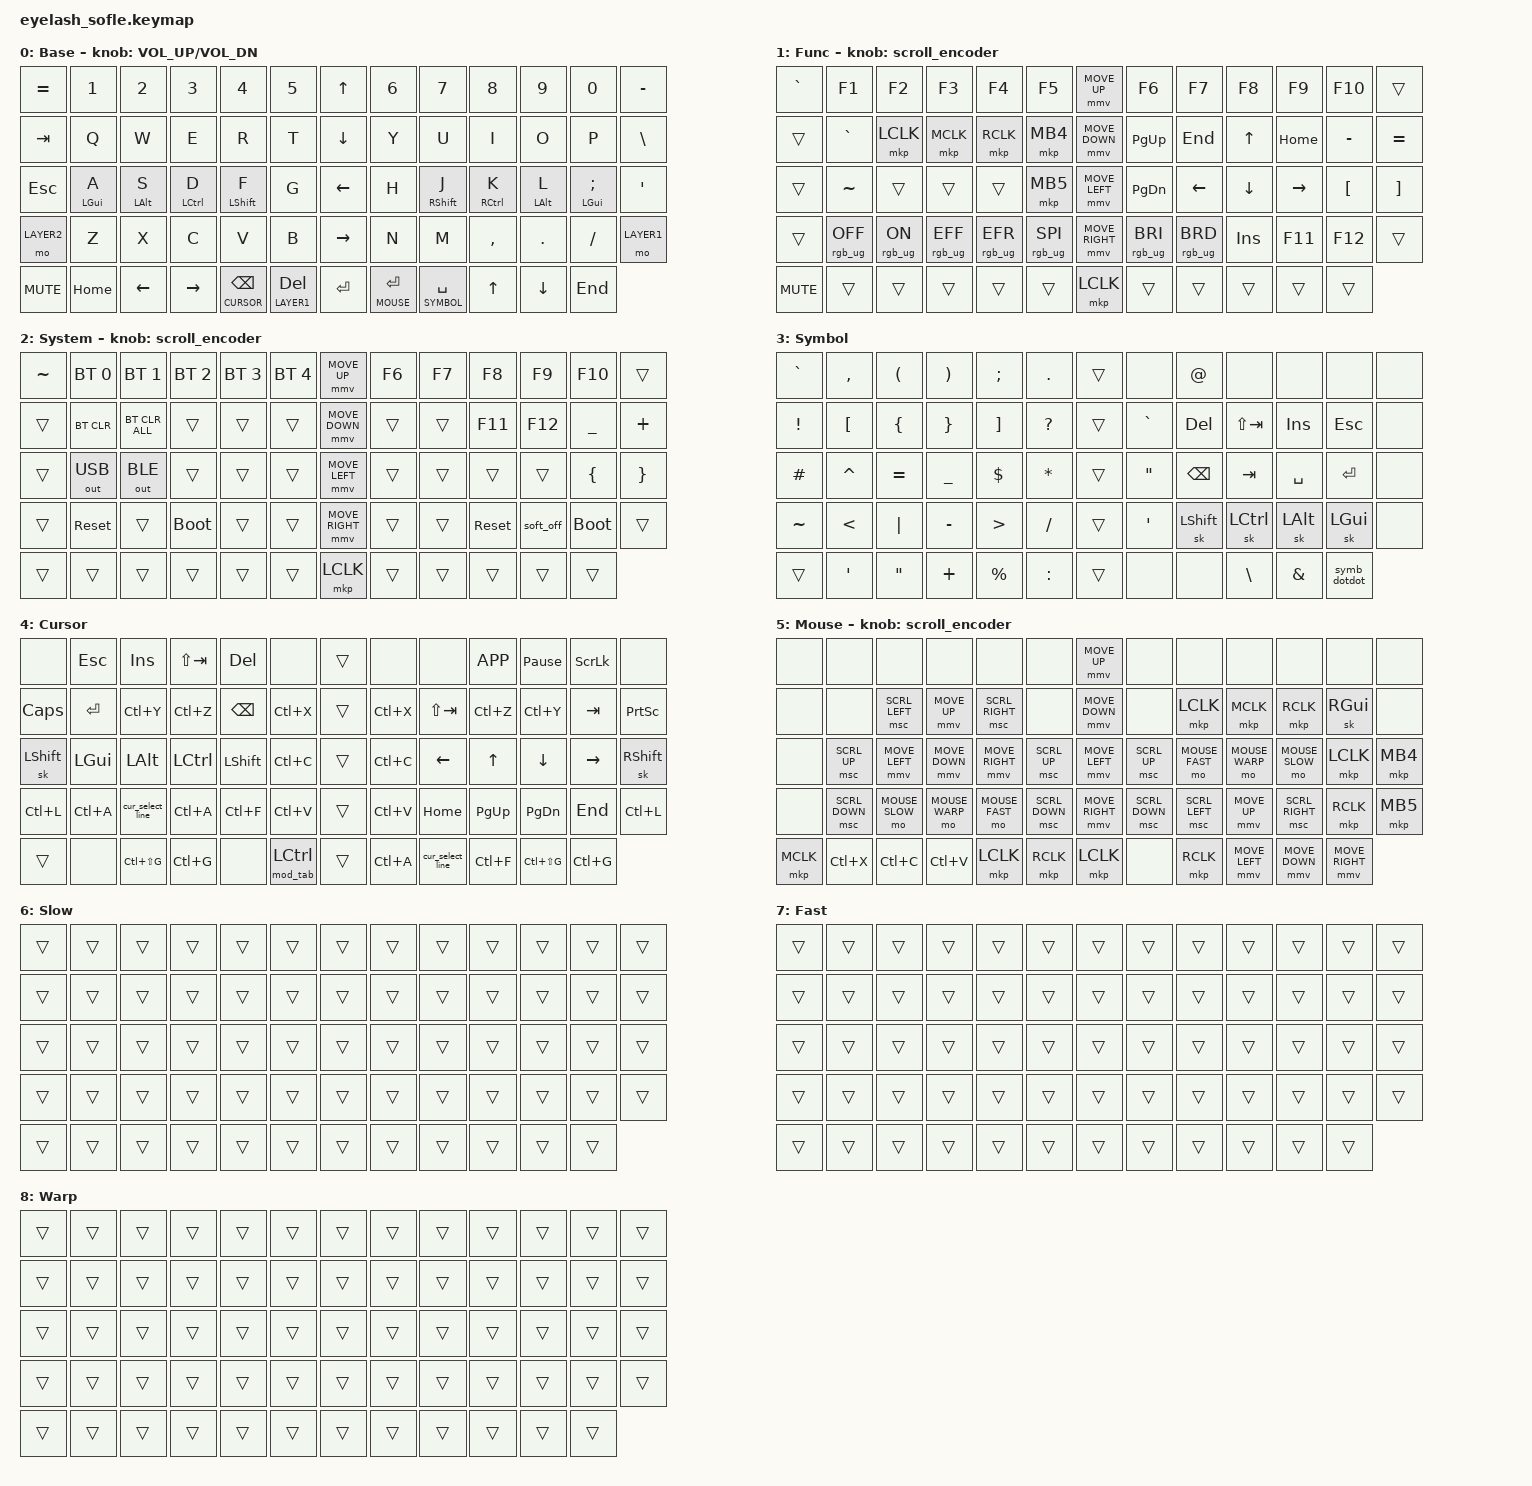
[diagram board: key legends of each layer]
#define ZMK_POINTING_DEFAULT_MOVE_VAL 1200  // 600
#define ZMK_POINTING_DEFAULT_SCRL_VAL 25   // 10

#include <input/processors.dtsi>
#include <zephyr/dt-bindings/input/input-event-codes.h>
#include <behaviors.dtsi>
#include <dt-bindings/zmk/bt.h>
#include <dt-bindings/zmk/ext_power.h>
#include <dt-bindings/zmk/keys.h>
#include <dt-bindings/zmk/pointing.h>
#include <dt-bindings/zmk/rgb.h>
#include <dt-bindings/zmk/outputs.h>

&msc {
    acceleration-exponent = <1>;      // 0
    time-to-max-speed-ms = <100>;       // 300
    delay-ms = <0>;                   // 0
};

&mmv {
    time-to-max-speed-ms = <500>;
    acceleration-exponent = <1>;
    trigger-period-ms = <16>;
};

// This keymap follows TailorKey v4.2m for the MoErgo Go60 (Windows/Linux).
// The Go60's main keys match the Sofle's one-to-one. Its three-key bottom row
// per side sits on the Sofle's three straight thumb-row keys, and its first
// two thumb keys on the angled ones (the Go60's third thumb keys are dropped).

// Key positions for the home row mods' "other hand" rule, as in TailorKey:
// each hand's main keys plus its bottom row. The angled thumb keys, the
// encoder press (52) and the centre 5-way switch (6 19 32 45 58, wired to the
// right half) count for both hands.
#define KEYS_LEFT   0  1  2  3  4  5 13 14 15 16 17 18 26 27 28 29 30 31 39 40 41 42 43 44 53 54 55
#define KEYS_RIGHT  7  8  9 10 11 12 20 21 22 23 24 25 33 34 35 36 37 38 46 47 48 49 50 51 61 62 63
#define KEYS_THUMBS 56 57 59 60 52  6 19 32 45 58

// Layer numbers. TailorKey's Keypad and Magic layers aren't ported yet, so
// for now they open the Sofle's original layers: Func (layer 1) and System
// (layer 2).
#define BASE       0
#define LAYER1     1
#define LAYER2     2
#define SYMBOL     3
#define CURSOR     4
#define MOUSE      5
#define MOUSE_SLOW 6
#define MOUSE_FAST 7
#define MOUSE_WARP 8
#define KEYPAD     LAYER1
#define MAGIC      LAYER2

// Pointer speed. Outside the Mouse layer (the 5-way switch on the Func and
// System layers) it moves at the MOVE_VAL above with no extra multiplier;
// raise the first number (e.g. 2 1) to speed it up. In the Mouse layer it runs
// at ZMK's standard speed, which TailorKey is built on, and the Mouse layer's
// speed keys give TailorKey's Slow (1/9), Fast (3x) and Warp (12x). The first
// rule whose layer is active wins, so the speed layers come first.
&mmv_input_listener {
    input-processors = <&zip_xy_scaler 1 1>;

    mouse_slow { layers = <MOUSE_SLOW>; input-processors = <&zip_xy_scaler 1 18>; };
    mouse_fast { layers = <MOUSE_FAST>; input-processors = <&zip_xy_scaler 3 2>; };
    mouse_warp { layers = <MOUSE_WARP>; input-processors = <&zip_xy_scaler 6 1>; };
    mouse      { layers = <MOUSE>;      input-processors = <&zip_xy_scaler 1 2>; };
};

// Scrolling keeps the Sofle's speed everywhere, so the encoder feels the
// same, and the speed keys scale it like TailorKey's: Slow 1/9, Fast 3x,
// Warp 12x (process-next then applies the usual 2x).
&msc_input_listener {
    input-processors = <&zip_scroll_scaler 2 1>;

    mouse_slow { layers = <MOUSE_SLOW>; input-processors = <&zip_scroll_scaler 1 9>;  process-next; };
    mouse_fast { layers = <MOUSE_FAST>; input-processors = <&zip_scroll_scaler 3 1>;  process-next; };
    mouse_warp { layers = <MOUSE_WARP>; input-processors = <&zip_scroll_scaler 12 1>; process-next; };
};

/ {

    behaviors {
        // TailorKey's home row mods. Each finger has its own timing. A mod
        // only activates when the next key is on the other hand or a thumb
        // key, so same-hand rolls stay letters.
        hrm_l_pinky: hrm_l_pinky {
            compatible = "zmk,behavior-hold-tap";
            display-name = "HRM Left Pinky";
            #binding-cells = <2>;
            flavor = "tap-preferred";
            tapping-term-ms = <280>;
            quick-tap-ms = <300>;
            require-prior-idle-ms = <150>;
            hold-trigger-on-release;
            hold-trigger-key-positions = <KEYS_RIGHT KEYS_THUMBS>;
            bindings = <&kp>, <&kp>;
        };

        hrm_l_ring: hrm_l_ring {
            compatible = "zmk,behavior-hold-tap";
            display-name = "HRM Left Ring";
            #binding-cells = <2>;
            flavor = "tap-preferred";
            tapping-term-ms = <240>;
            quick-tap-ms = <300>;
            require-prior-idle-ms = <150>;
            hold-trigger-on-release;
            hold-trigger-key-positions = <KEYS_RIGHT KEYS_THUMBS>;
            bindings = <&kp>, <&kp>;
        };

        hrm_l_middle: hrm_l_middle {
            compatible = "zmk,behavior-hold-tap";
            display-name = "HRM Left Middle";
            #binding-cells = <2>;
            flavor = "tap-preferred";
            tapping-term-ms = <210>;
            quick-tap-ms = <300>;
            require-prior-idle-ms = <150>;
            hold-trigger-on-release;
            hold-trigger-key-positions = <KEYS_RIGHT KEYS_THUMBS>;
            bindings = <&kp>, <&kp>;
        };

        hrm_l_index: hrm_l_index {
            compatible = "zmk,behavior-hold-tap";
            display-name = "HRM Left Index";
            #binding-cells = <2>;
            flavor = "tap-preferred";
            tapping-term-ms = <190>;
            quick-tap-ms = <300>;
            require-prior-idle-ms = <100>;
            hold-trigger-on-release;
            hold-trigger-key-positions = <KEYS_RIGHT KEYS_THUMBS>;
            bindings = <&kp>, <&kp>;
        };

        hrm_r_index: hrm_r_index {
            compatible = "zmk,behavior-hold-tap";
            display-name = "HRM Right Index";
            #binding-cells = <2>;
            flavor = "tap-preferred";
            tapping-term-ms = <190>;
            quick-tap-ms = <300>;
            require-prior-idle-ms = <100>;
            hold-trigger-on-release;
            hold-trigger-key-positions = <KEYS_LEFT KEYS_THUMBS>;
            bindings = <&kp>, <&kp>;
        };

        hrm_r_middle: hrm_r_middle {
            compatible = "zmk,behavior-hold-tap";
            display-name = "HRM Right Middle";
            #binding-cells = <2>;
            flavor = "tap-preferred";
            tapping-term-ms = <210>;
            quick-tap-ms = <300>;
            require-prior-idle-ms = <150>;
            hold-trigger-on-release;
            hold-trigger-key-positions = <KEYS_LEFT KEYS_THUMBS>;
            bindings = <&kp>, <&kp>;
        };

        hrm_r_ring: hrm_r_ring {
            compatible = "zmk,behavior-hold-tap";
            display-name = "HRM Right Ring";
            #binding-cells = <2>;
            flavor = "tap-preferred";
            tapping-term-ms = <240>;
            quick-tap-ms = <300>;
            require-prior-idle-ms = <150>;
            hold-trigger-on-release;
            hold-trigger-key-positions = <KEYS_LEFT KEYS_THUMBS>;
            bindings = <&kp>, <&kp>;
        };

        hrm_r_pinky: hrm_r_pinky {
            compatible = "zmk,behavior-hold-tap";
            display-name = "HRM Right Pinky";
            #binding-cells = <2>;
            flavor = "tap-preferred";
            tapping-term-ms = <280>;
            quick-tap-ms = <300>;
            require-prior-idle-ms = <150>;
            hold-trigger-on-release;
            hold-trigger-key-positions = <KEYS_LEFT KEYS_THUMBS>;
            bindings = <&kp>, <&kp>;
        };

        // TailorKey's thumb keys: tap for the key, hold for a layer.
        thumb_lt: thumb_lt {
            compatible = "zmk,behavior-hold-tap";
            display-name = "Thumb Layer-Tap";
            #binding-cells = <2>;
            flavor = "balanced";
            tapping-term-ms = <200>;
            quick-tap-ms = <300>;
            bindings = <&mo>, <&kp>;
        };

        space_lt: space_lt {
            compatible = "zmk,behavior-hold-tap";
            display-name = "Space Layer-Tap";
            #binding-cells = <2>;
            flavor = "balanced";
            tapping-term-ms = <200>;
            quick-tap-ms = <150>;
            bindings = <&mo>, <&kp>;
        };

        // TailorKey's Cursor layer macro.
        cur_select_line: cur_select_line {
            compatible = "zmk,behavior-macro";
            display-name = "Select Line";
            #binding-cells = <0>;
            wait-ms = <1>;
            tap-ms = <1>;
            bindings = <&kp HOME &kp LS(END)>;
        };

        // Holds the given modifier and taps Tab. The modifier stays held
        // until the key is released, so the app/tab switcher stays open.
        mod_tab: mod_tab {
            compatible = "zmk,behavior-macro-one-param";
            display-name = "Mod-Tab Switcher";
            #binding-cells = <1>;
            wait-ms = <0>;
            tap-ms = <0>;
            bindings
                = <&macro_param_1to1>
                , <&macro_press &kp MACRO_PLACEHOLDER>
                , <&macro_tap &kp TAB>
                , <&macro_pause_for_release>
                , <&macro_param_1to1>
                , <&macro_release &kp MACRO_PLACEHOLDER>
                ;
        };

        // Mod-tab switcher for the combos: also holds a layer (Cursor) while
        // the chord is held, so its arrows can pick the window or tab.
        mod_tab_chord: mod_tab_chord {
            compatible = "zmk,behavior-macro-two-param";
            display-name = "Mod-Tab Chord";
            #binding-cells = <2>;
            wait-ms = <0>;
            tap-ms = <0>;
            bindings
                = <&macro_param_2to1>
                , <&macro_press &mo MACRO_PLACEHOLDER>
                , <&macro_param_1to1>
                , <&macro_press &mod_tab MACRO_PLACEHOLDER>
                , <&macro_pause_for_release>
                , <&macro_param_1to1>
                , <&macro_release &mod_tab MACRO_PLACEHOLDER>
                , <&macro_param_2to1>
                , <&macro_release &mo MACRO_PLACEHOLDER>
                ;
        };

        // Types "..".
        symb_dotdot: symb_dotdot {
            compatible = "zmk,behavior-macro";
            display-name = "Dot Dot";
            #binding-cells = <0>;
            wait-ms = <0>;
            tap-ms = <0>;
            bindings = <&macro_tap &kp DOT &kp DOT>;
        };
    };

    scroll_encoder: scroll_encoder {
        compatible = "zmk,behavior-sensor-rotate";
        #sensor-binding-cells = <0>;
        bindings = <&msc SCRL_DOWN>, <&msc SCRL_UP>;
        tap-ms = <100>;
    };

    // TailorKey's combos: press the keys at the same time.
    combos {
        compatible = "zmk,combos";

        // F1-F12: a number-row key plus the key below it (F12 is 0 + -).
        combo_f1  { key-positions = <1 14>;  bindings = <&kp F1>;  layers = <BASE>; };
        combo_f2  { key-positions = <2 15>;  bindings = <&kp F2>;  layers = <BASE>; };
        combo_f3  { key-positions = <3 16>;  bindings = <&kp F3>;  layers = <BASE>; };
        combo_f4  { key-positions = <4 17>;  bindings = <&kp F4>;  layers = <BASE>; };
        combo_f5  { key-positions = <5 18>;  bindings = <&kp F5>;  layers = <BASE>; };
        combo_f6  { key-positions = <7 20>;  bindings = <&kp F6>;  layers = <BASE>; };
        combo_f7  { key-positions = <8 21>;  bindings = <&kp F7>;  layers = <BASE>; };
        combo_f8  { key-positions = <9 22>;  bindings = <&kp F8>;  layers = <BASE>; };
        combo_f9  { key-positions = <10 23>; bindings = <&kp F9>;  layers = <BASE>; };
        combo_f10 { key-positions = <11 24>; bindings = <&kp F10>; layers = <BASE>; };
        combo_f11 { key-positions = <12 25>; bindings = <&kp F11>; layers = <BASE>; };
        combo_f12 { key-positions = <11 12>; bindings = <&kp F12>; layers = <BASE>; };

        // Caps Lock: the Backspace and Space thumb keys.
        combo_caps_lock { key-positions = <56 60>; bindings = <&kp CAPS>; layers = <BASE>; };

        // Sticky Hyper (Ctrl+Alt+Shift+Win) and Meh (Ctrl+Alt+Shift).
        combo_hyper { key-positions = <47 61>; bindings = <&sk LG(LA(LC(LSHFT)))>; layers = <BASE>; };
        combo_meh   { key-positions = <48 62>; bindings = <&sk LA(LC(LSHFT))>;     layers = <BASE>; };

        // Alt/Ctrl/Win+Tab switchers: hold the chord, pick with the arrows.
        combo_alt_tab  { key-positions = <41 53>; bindings = <&mod_tab_chord LALT CURSOR>;  layers = <BASE>; };
        combo_ctrl_tab { key-positions = <43 55>; bindings = <&mod_tab_chord LCTRL CURSOR>; layers = <BASE>; };
        combo_win_tab  { key-positions = <44 56>; bindings = <&mod_tab_chord LGUI CURSOR>;  layers = <BASE>; };
    };

    keymap {
        compatible = "zmk,keymap";

        layer0 {
            bindings = <
&kp EQUAL               &kp N1                  &kp N2                  &kp N3                  &kp N4                  &kp N5                  &kp UP_ARROW            &kp N6                  &kp N7                  &kp N8                  &kp N9                  &kp N0                  &kp MINUS
&kp TAB                 &kp Q                   &kp W                   &kp E                   &kp R                   &kp T                   &kp DOWN_ARROW          &kp Y                   &kp U                   &kp I                   &kp O                   &kp P                   &kp BSLH
&kp ESC                 &hrm_l_pinky LGUI A     &hrm_l_ring LALT S      &hrm_l_middle LCTRL D   &hrm_l_index LSHFT F    &kp G                   &kp LEFT_ARROW          &kp H                   &hrm_r_index RSHFT J    &hrm_r_middle RCTRL K   &hrm_r_ring LALT L      &hrm_r_pinky LGUI SEMI  &kp SQT
&mo MAGIC               &kp Z                   &kp X                   &kp C                   &kp V                   &kp B                   &kp RIGHT_ARROW         &kp N                   &kp M                   &kp COMMA               &kp DOT                 &kp FSLH                &mo KEYPAD
&kp C_MUTE              &kp HOME                &kp LEFT                &kp RIGHT               &thumb_lt CURSOR BSPC   &thumb_lt KEYPAD DEL    &kp ENTER               &thumb_lt MOUSE RET     &space_lt SYMBOL SPACE   &kp UP                  &kp DOWN                &kp END
            >;

            sensor-bindings = <&inc_dec_kp C_VOLUME_UP C_VOL_DN>;
            display-name = "Base";
        };

        layer_1 {
            bindings = <
&kp GRAVE   &kp F1           &kp F2          &kp F3           &kp F4           &kp F5             &mmv MOVE_UP     &kp F6           &kp F7           &kp F8      &kp F9     &kp F10           &trans
&trans      &kp GRAVE        &mkp LCLK       &mkp MCLK        &mkp RCLK        &mkp MB4           &mmv MOVE_DOWN   &kp PG_UP        &kp END          &kp UP      &kp HOME   &kp MINUS         &kp EQUAL
&trans      &kp TILDE        &trans          &trans           &trans           &mkp MB5           &mmv MOVE_LEFT   &kp PG_DN        &kp LEFT         &kp DOWN    &kp RIGHT  &kp LEFT_BRACKET  &kp RIGHT_BRACKET
&trans      &rgb_ug RGB_OFF  &rgb_ug RGB_ON  &rgb_ug RGB_EFF  &rgb_ug RGB_EFR  &rgb_ug RGB_SPI    &mmv MOVE_RIGHT  &rgb_ug RGB_BRI  &rgb_ug RGB_BRD  &kp INSERT  &kp F11    &kp F12           &trans
&kp C_MUTE  &trans           &trans          &trans           &trans           &trans             &mkp LCLK        &trans           &trans           &trans      &trans     &trans
            >;

            display-name = "Func";
            sensor-bindings = <&scroll_encoder>;
        };

        layer_2 {
            bindings = <
&kp TILDE  &bt BT_SEL 0  &bt BT_SEL 1    &bt BT_SEL 2  &bt BT_SEL 3  &bt BT_SEL 4    &mmv MOVE_UP     &kp F6  &kp F7  &kp F8      &kp F9     &kp F10      &trans
&trans     &bt BT_CLR    &bt BT_CLR_ALL  &trans        &trans        &trans          &mmv MOVE_DOWN   &trans  &trans  &kp F11     &kp F12    &kp UNDER    &kp PLUS
&trans     &out OUT_USB  &out OUT_BLE    &trans        &trans        &trans          &mmv MOVE_LEFT   &trans  &trans  &trans      &trans     &kp LBRC     &kp RBRC
&trans     &sys_reset    &trans          &bootloader   &trans        &trans          &mmv MOVE_RIGHT  &trans  &trans  &sys_reset  &soft_off  &bootloader  &trans
&trans     &trans        &trans          &trans        &trans        &trans          &mkp LCLK        &trans  &trans  &trans      &trans     &trans
            >;

            display-name = "System";
            sensor-bindings = <&scroll_encoder>;
        };

        // TailorKey's Symbol layer (hold Space). The '@' from the Go60's
        // third left thumb key sits on the empty right number row. The sticky
        // mods on M , . / follow the Windows home row mods (Shift/Ctrl/Alt/Win,
        // as on the Glove80); the Go60 file has them in macOS order.
        symbol {
            bindings = <
&kp GRAVE     &kp COMMA     &kp LPAR      &kp RPAR      &kp SEMI      &kp DOT       &trans        &none         &kp AT        &none         &none         &none         &none
&kp EXCL      &kp LBKT      &kp LBRC      &kp RBRC      &kp RBKT      &kp QMARK     &trans        &kp GRAVE     &kp DEL       &kp LS(TAB)   &kp INS       &kp ESC       &none
&kp HASH      &kp CARET     &kp EQUAL     &kp UNDER     &kp DLLR      &kp STAR      &trans        &kp DQT       &kp BSPC      &kp TAB       &kp SPACE     &kp RET       &none
&kp TILDE     &kp LT        &kp PIPE      &kp MINUS     &kp GT        &kp FSLH      &trans        &kp SQT       &sk LSHFT     &sk LCTRL     &sk LALT      &sk LGUI      &none
&trans        &kp SQT       &kp DQT       &kp PLUS      &kp PRCNT     &kp COLON     &trans        &none         &none         &kp BSLH      &kp AMPS      &symb_dotdot
            >;

            display-name = "Symbol";
        };

        // TailorKey's Cursor layer (hold Backspace), with Select All in
        // place of Select Word. The Enter and Space keys are Select All and
        // Select Line instead of the Go60's Extend Line and Extend Word.
        cursor {
            bindings = <
&none              &kp ESC            &kp INS            &kp LS(TAB)        &kp DEL            &none              &trans             &none              &none              &kp K_APP          &kp PAUSE_BREAK    &kp SLCK           &none
&kp CAPS           &kp RET            &kp LC(Y)          &kp LC(Z)          &kp BSPC           &kp LC(X)          &trans             &kp LC(X)          &kp LS(TAB)        &kp LC(Z)          &kp LC(Y)          &kp TAB            &kp PSCRN
&sk LSHFT          &kp LGUI           &kp LALT           &kp LCTRL          &kp LSHFT          &kp LC(C)          &trans             &kp LC(C)          &kp LEFT           &kp UP             &kp DOWN           &kp RIGHT          &sk RSHFT
&kp LC(L)          &kp LC(A)          &cur_select_line   &kp LC(A)          &kp LC(F)          &kp LC(V)          &trans             &kp LC(V)          &kp HOME           &kp PG_UP          &kp PG_DN          &kp END            &kp LC(L)
&trans             &none              &kp LC(LS(G))      &kp LC(G)          &none              &mod_tab LCTRL     &trans             &kp LC(A)          &cur_select_line   &kp LC(F)          &kp LC(LS(G))      &kp LC(G)
            >;

            display-name = "Cursor";
        };

        // TailorKey's Mouse layer (hold Enter). The 5-way switch still moves and
        // clicks, the encoder scrolls, and pressing it is a middle click.
        // Unlike TailorKey, U/I/O are left/middle/right click instead of
        // sticky Shift/Ctrl/Alt. Cut/copy/paste on the left thumb row use Ctrl,
        // as on the Glove80's Windows version (the Go60 file has macOS's Cmd).
        mouse {
            bindings = <
&none            &none            &none            &none            &none            &none            &mmv MOVE_UP     &none            &none            &none            &none            &none            &none
&none            &none            &msc SCRL_LEFT   &mmv MOVE_UP     &msc SCRL_RIGHT  &none            &mmv MOVE_DOWN   &none            &mkp LCLK        &mkp MCLK        &mkp RCLK        &sk RGUI         &none
&none            &msc SCRL_UP     &mmv MOVE_LEFT   &mmv MOVE_DOWN   &mmv MOVE_RIGHT  &msc SCRL_UP     &mmv MOVE_LEFT   &msc SCRL_UP     &mo MOUSE_FAST   &mo MOUSE_WARP   &mo MOUSE_SLOW   &mkp LCLK        &mkp MB4
&none            &msc SCRL_DOWN   &mo MOUSE_SLOW   &mo MOUSE_WARP   &mo MOUSE_FAST   &msc SCRL_DOWN   &mmv MOVE_RIGHT  &msc SCRL_DOWN   &msc SCRL_LEFT   &mmv MOVE_UP     &msc SCRL_RIGHT  &mkp RCLK        &mkp MB5
&mkp MCLK        &kp LC(X)        &kp LC(C)        &kp LC(V)        &mkp LCLK        &mkp RCLK        &mkp LCLK        &none            &mkp RCLK        &mmv MOVE_LEFT   &mmv MOVE_DOWN   &mmv MOVE_RIGHT
            >;

            display-name = "Mouse";
            sensor-bindings = <&scroll_encoder>;
        };

        // Speed layers for the Mouse layer's speed keys (X/C/V and L/K/J). They
        // only change the pointer speed; see the input listeners at the top.
        mouse_slow {
            bindings = <
&trans  &trans  &trans  &trans  &trans  &trans  &trans  &trans  &trans  &trans  &trans  &trans  &trans
&trans  &trans  &trans  &trans  &trans  &trans  &trans  &trans  &trans  &trans  &trans  &trans  &trans
&trans  &trans  &trans  &trans  &trans  &trans  &trans  &trans  &trans  &trans  &trans  &trans  &trans
&trans  &trans  &trans  &trans  &trans  &trans  &trans  &trans  &trans  &trans  &trans  &trans  &trans
&trans  &trans  &trans  &trans  &trans  &trans  &trans  &trans  &trans  &trans  &trans  &trans
            >;

            display-name = "Slow";
        };

        mouse_fast {
            bindings = <
&trans  &trans  &trans  &trans  &trans  &trans  &trans  &trans  &trans  &trans  &trans  &trans  &trans
&trans  &trans  &trans  &trans  &trans  &trans  &trans  &trans  &trans  &trans  &trans  &trans  &trans
&trans  &trans  &trans  &trans  &trans  &trans  &trans  &trans  &trans  &trans  &trans  &trans  &trans
&trans  &trans  &trans  &trans  &trans  &trans  &trans  &trans  &trans  &trans  &trans  &trans  &trans
&trans  &trans  &trans  &trans  &trans  &trans  &trans  &trans  &trans  &trans  &trans  &trans
            >;

            display-name = "Fast";
        };

        mouse_warp {
            bindings = <
&trans  &trans  &trans  &trans  &trans  &trans  &trans  &trans  &trans  &trans  &trans  &trans  &trans
&trans  &trans  &trans  &trans  &trans  &trans  &trans  &trans  &trans  &trans  &trans  &trans  &trans
&trans  &trans  &trans  &trans  &trans  &trans  &trans  &trans  &trans  &trans  &trans  &trans  &trans
&trans  &trans  &trans  &trans  &trans  &trans  &trans  &trans  &trans  &trans  &trans  &trans  &trans
&trans  &trans  &trans  &trans  &trans  &trans  &trans  &trans  &trans  &trans  &trans  &trans
            >;

            display-name = "Warp";
        };
    };
};
